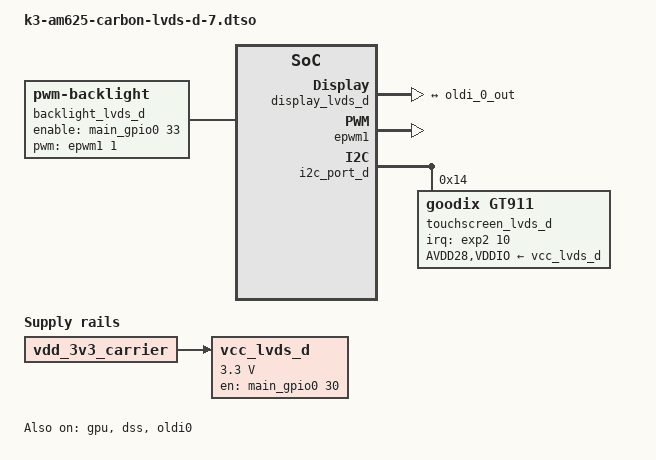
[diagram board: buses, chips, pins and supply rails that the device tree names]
// SPDX-License-Identifier: GPL-2.0-only OR MIT
/*
 * LVDS to LVDS Expansion Board with BD070LIC3 display for carbon AM62x
 *
 * Copyright (C) 2024 Ezurio LLC
 */

/dts-v1/;
/plugin/;

#include <dt-bindings/gpio/gpio.h>
#include <dt-bindings/interrupt-controller/irq.h>
#include <dt-bindings/pwm/pwm.h>
#include "k3-pinctrl.h"

&{/} {
	backlight_lvds_d: backlight-lvds-d {
		compatible = "pwm-backlight";

		brightness-levels = <0 1 2 3 4 5 6 7 8 9 10>;
		default-brightness-level = <8>;
		pwms = <&epwm1 1 30000 0>; /* 33.3 kHz */

		pinctrl-names = "default";
		pinctrl-0 = <&main_lvds_d_backlight_en_default>;
		enable-gpios = <&main_gpio0 33 GPIO_ACTIVE_HIGH>;
	};

	vcc_lvds_d: regulator-vcc-lvds-d {
		compatible = "regulator-fixed";
		regulator-name = "vcc_lvds-d";
		regulator-min-microvolt = <3300000>;
		regulator-max-microvolt = <3300000>;

		vin-supply = <&vdd_3v3_carrier>;

		pinctrl-names = "default";
		pinctrl-0 = <&main_lvds_d_power_default>;
		gpios = <&main_gpio0 30 GPIO_ACTIVE_HIGH>;
		enable-active-high;
		startup-delay-us = <10000>;
	};

	display_lvds_d: display-lvds-d {
		compatible = "panel-lvds";
		data-mapping = "vesa-24";

		power-supply = <&vcc_lvds_d>;
		backlight = <&backlight_lvds_d>;

		width-mm = <150>;
		height-mm = <94>;

		panel-timing {
			clock-frequency = <68000000>;
			hactive = <1280>;
			vactive = <800>;

			hback-porch = <27>;
			hfront-porch = <64>;
			hsync-len = <4>;

			vback-porch = <4>;
			vfront-porch = <16>;
			vsync-len = <4>;
		};

		port {
			lcd_in0: endpoint {
				remote-endpoint = <&oldi_0_out>;
			};
		};
	};
};

&epwm1 {
	status = "okay";
};

&gpu {
	status = "okay";
};

&dss {
	status = "okay";
};

&dss_ports {
	#address-cells = <1>;
	#size-cells = <0>;

	/* Video Port 1 Output to OLDI */
	port@0 {
		reg = <0>;
		#address-cells = <1>;
		#size-cells = <0>;

		dpi0_out0: endpoint@0 {
			reg = <0>;
			remote-endpoint = <&oldi_0_in>;
		};
	};
};

&oldi0 {
	status = "okay";
};

&oldi0_ports {
	#address-cells = <1>;
	#size-cells = <0>;

	port@0 {
		reg = <0>;
		oldi_0_in: endpoint {
			remote-endpoint = <&dpi0_out0>;
		};
	};

	port@1 {
		reg = <1>;
		oldi_0_out: endpoint {
			remote-endpoint = <&lcd_in0>;
		};
	};
};

&i2c_port_d {
	#address-cells = <1>;
	#size-cells = <0>;

	touchscreen_lvds_d: touchscreen-lvds-d@14 {
		compatible = "goodix,gt911";
		reg = <0x14>;
		AVDD28-supply = <&vcc_lvds_d>;
		VDDIO-supply = <&vcc_lvds_d>;
		interrupts-extended = <&exp2 10 IRQ_TYPE_EDGE_FALLING>;
		interrupt-names = "irq";
		irq-gpios = <&exp2 10 GPIO_ACTIVE_HIGH>;
		//reset-gpios = <&exp2 11 GPIO_ACTIVE_HIGH>;
		touchscreen-size-x = <1280>;
		touchscreen-size-y = <800>;
	};
};
